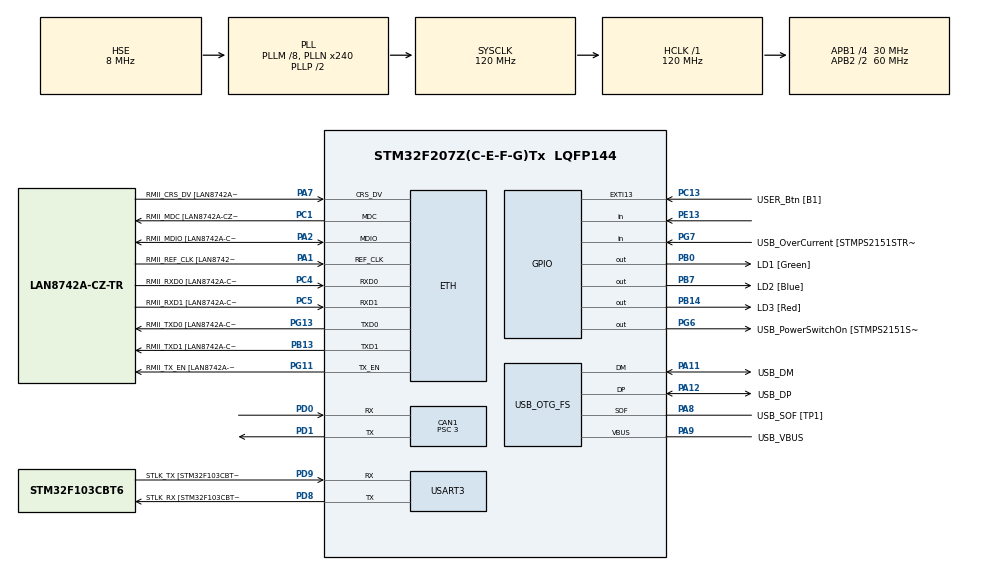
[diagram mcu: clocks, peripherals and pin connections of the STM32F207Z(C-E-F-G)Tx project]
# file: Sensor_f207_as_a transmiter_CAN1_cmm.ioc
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CAN1.ABOM=ENABLE
CAN1.BS1=CAN_BS1_16TQ
CAN1.BS2=CAN_BS2_3TQ
CAN1.CalculateBaudRate=500000
CAN1.CalculateTimeBit=2000
CAN1.CalculateTimeQuantum=100.0
CAN1.NART=ENABLE
CAN1.Prescaler=3
ETH.MediaInterface=ETH_MEDIA_INTERFACE_RMII
ETH.PHY_Name=LAN8742A_PHY_ADDRESS
ETH.PHY_Value=0
ETH.PhyAddress=0
Mcu.Family=STM32F2
Mcu.Name=STM32F207Z(C-E-F-G)Tx
Mcu.Package=LQFP144
NVIC.CAN1_TX_IRQn=true\:0\:0\:false\:false\:true\:true\:true\:true
NVIC.PriorityGroup=NVIC_PRIORITYGROUP_4
PA1.GPIO_Label=RMII_REF_CLK [LAN8742A-CZ-TR_REFCLK0]
PA1.Mode=RMII
PA1.Signal=ETH_REF_CLK
PA10.GPIO_Label=USB_ID
PA10.Signal=USB_OTG_FS_ID
PA11.GPIO_Label=USB_DM
PA11.Mode=Device_Only
PA11.Signal=USB_OTG_FS_DM
PA12.GPIO_Label=USB_DP
PA12.Mode=Device_Only
PA12.Signal=USB_OTG_FS_DP
PA13.GPIO_Label=TMS
PA13.Mode=Serial_Wire
PA13.Signal=SYS_JTMS-SWDIO
PA14.GPIO_Label=TCK
PA14.Mode=Serial_Wire
PA14.Signal=SYS_JTCK-SWCLK
PA2.GPIO_Label=RMII_MDIO [LAN8742A-CZ-TR_MDIO]
PA2.Mode=RMII
PA2.Signal=ETH_MDIO
PA7.GPIO_Label=RMII_CRS_DV [LAN8742A-CZ-TR_CRS_DV]
PA7.Mode=RMII
PA7.Signal=ETH_CRS_DV
PA8.GPIO_Label=USB_SOF [TP1]
PA8.Mode=Activate_SOF_FS
PA8.Signal=USB_OTG_FS_SOF
PA9.GPIO_Label=USB_VBUS
PA9.Mode=Activate_VBUS
PA9.Signal=USB_OTG_FS_VBUS
PB0.GPIO_Label=LD1 [Green]
PB0.Signal=GPIO_Output
PB13.GPIO_Label=RMII_TXD1 [LAN8742A-CZ-TR_TXD1]
PB13.Mode=RMII
PB13.Signal=ETH_TXD1
PB14.GPIO_Label=LD3 [Red]
PB14.Signal=GPIO_Output
PB3.GPIO_Label=SWO
PB3.Signal=SYS_JTDO-SWO
PB7.GPIO_Label=LD2 [Blue]
PB7.Signal=GPIO_Output
PC1.GPIO_Label=RMII_MDC [LAN8742A-CZ-TR_MDC]
PC1.Mode=RMII
PC1.Signal=ETH_MDC
PC13.GPIO_Label=USER_Btn [B1]
PC13.Signal=GPXTI13
PC14-OSC32_IN.Mode=LSE-External-Oscillator
PC14-OSC32_IN.Signal=RCC_OSC32_IN
PC15-OSC32_OUT.Mode=LSE-External-Oscillator
PC15-OSC32_OUT.Signal=RCC_OSC32_OUT
PC4.GPIO_Label=RMII_RXD0 [LAN8742A-CZ-TR_RXD0]
PC4.Mode=RMII
PC4.Signal=ETH_RXD0
PC5.GPIO_Label=RMII_RXD1 [LAN8742A-CZ-TR_RXD1]
PC5.Mode=RMII
PC5.Signal=ETH_RXD1
PD0.Mode=CAN_Activate
PD0.Signal=CAN1_RX
PD1.Mode=CAN_Activate
PD1.Signal=CAN1_TX
PD8.GPIO_Label=STLK_RX [STM32F103CBT6_PA2]
PD8.Mode=Asynchronous
PD8.Signal=USART3_TX
PD9.GPIO_Label=STLK_TX [STM32F103CBT6_PA3]
PD9.Mode=Asynchronous
PD9.Signal=USART3_RX
PE13.GPIO_PuPd=GPIO_PULLUP
PE13.Signal=GPIO_Input
PG11.GPIO_Label=RMII_TX_EN [LAN8742A-CZ-TR_TXEN]
PG11.Mode=RMII
PG11.Signal=ETH_TX_EN
PG13.GPIO_Label=RMII_TXD0 [LAN8742A-CZ-TR_TXD0]
PG13.Mode=RMII
PG13.Signal=ETH_TXD0
PG6.GPIO_Label=USB_PowerSwitchOn [STMPS2151STR_EN]
PG6.Signal=GPIO_Output
PG7.GPIO_Label=USB_OverCurrent [STMPS2151STR_FAULT]
PG7.Signal=GPIO_Input
PH0-OSC_IN.GPIO_Label=MCO [STM32F103CBT6_PA8]
PH0-OSC_IN.Mode=HSE-External-Clock-Source
PH0-OSC_IN.Signal=RCC_OSC_IN
PH1-OSC_OUT.Mode=HSE-External-Clock-Source
PH1-OSC_OUT.Signal=RCC_OSC_OUT
ProjectManager.HeapSize=0x200
ProjectManager.StackSize=0x400
ProjectManager.TargetToolchain=STM32CubeIDE
RCC.48MHZClocksFreq_Value=48000000
RCC.AHBFreq_Value=120000000
RCC.APB1CLKDivider=RCC_HCLK_DIV4
RCC.APB1Freq_Value=30000000
RCC.APB1TimFreq_Value=60000000
RCC.APB2CLKDivider=RCC_HCLK_DIV2
RCC.APB2Freq_Value=60000000
RCC.APB2TimFreq_Value=120000000
RCC.CortexFreq_Value=120000000
RCC.HCLKFreq_Value=120000000
RCC.HSE_VALUE=8000000
RCC.HSI_VALUE=16000000
RCC.PLLM=8
RCC.PLLMUL=RCC_PLL_MUL9
RCC.PLLN=240
RCC.PLLQ=5
RCC.PLLSourceVirtual=RCC_PLLSOURCE_HSE
RCC.PRESCALERUSB=RCC_USBCLKSOURCE_PLL_DIV1_5
RCC.SYSCLKFreq_VALUE=120000000
RCC.SYSCLKSource=RCC_SYSCLKSOURCE_PLLCLK
RCC.SYSCLKSourceVirtual=RCC_SYSCLKSOURCE_PLLCLK
RCC.USBFreq_Value=48000000
RCC.VCOOutputFreq_Value=240000000
USART3.VirtualMode=VM_ASYNC
USB_OTG_FS.VirtualMode=Device_Only
board=NUCLEO-F207ZG

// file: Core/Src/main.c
/* USER CODE BEGIN Header */
/**
  ******************************************************************************
  * @file           : main.c
  * @brief          : Main program body
  ******************************************************************************
  * @attention
  *
  * Copyright (c) 2026 STMicroelectronics.
  * All rights reserved.
  *
  * This software is licensed under terms that can be found in the LICENSE file
  * in the root directory of this software component.
  * If no LICENSE file comes with this software, it is provided AS-IS.
  *
  ******************************************************************************
  */
/* USER CODE END Header */
#include "main.h"

/* USER CODE BEGIN Includes */
#include <stdio.h>
#include <string.h>
/* USER CODE END Includes */

/* USER CODE BEGIN PD */
#define Sensor_data_Pin GPIO_PIN_13
#define Sensor_data_GPIO_Port GPIOE

/* USER CODE END PD */

CAN_HandleTypeDef hcan1;

ETH_HandleTypeDef heth;

UART_HandleTypeDef huart3;

PCD_HandleTypeDef hpcd_USB_OTG_FS;

void SystemClock_Config(void);
static void MX_GPIO_Init(void);
static void MX_ETH_Init(void);
static void MX_USART3_UART_Init(void);
static void MX_USB_OTG_FS_PCD_Init(void);
static void MX_CAN1_Init(void);

/* USER CODE BEGIN 0 */

uint8_t dht_data[5];
float temperature = 0;
float humidity = 0;
int16_t temp=0;
int16_t hum=0;
uint8_t TxData[4];

/* ---- Microsecond Delay Using DWT ---- */
void DWT_Delay_Init(void)
{
    CoreDebug->DEMCR |= CoreDebug_DEMCR_TRCENA_Msk;
    DWT->CYCCNT = 0;
    DWT->CTRL |= DWT_CTRL_CYCCNTENA_Msk;
}

void delay_us(uint32_t us)
{
    uint32_t cycles = (SystemCoreClock / 1000000L) * us;
    uint32_t start = DWT->CYCCNT;
    while (DWT->CYCCNT - start < cycles);
}

/* ---- Change PE13 Mode ---- */
void Set_Pin_Output(void)
{
    GPIO_InitTypeDef GPIO_InitStruct = {0};
    GPIO_InitStruct.Pin = Sensor_data_Pin;
    GPIO_InitStruct.Mode = GPIO_MODE_OUTPUT_OD;   // Open Drain
    GPIO_InitStruct.Pull = GPIO_NOPULL;           // IMPORTANT
    GPIO_InitStruct.Speed = GPIO_SPEED_FREQ_LOW;
    HAL_GPIO_Init(Sensor_data_GPIO_Port, &GPIO_InitStruct);
}

void Set_Pin_Input(void)
{
    GPIO_InitTypeDef GPIO_InitStruct = {0};
    GPIO_InitStruct.Pin = Sensor_data_Pin;
    GPIO_InitStruct.Mode = GPIO_MODE_INPUT;
    GPIO_InitStruct.Pull = GPIO_PULLUP;
    HAL_GPIO_Init(Sensor_data_GPIO_Port, &GPIO_InitStruct);
}

/* ---- DHT22 Start ---- */
uint8_t DHT22_Start(void)
{
    uint8_t response = 0;

    Set_Pin_Output();
    HAL_GPIO_WritePin(GPIOE, Sensor_data_Pin, GPIO_PIN_RESET);
    HAL_Delay(1);

    HAL_GPIO_WritePin(GPIOE, Sensor_data_Pin, GPIO_PIN_SET);
    delay_us(30);

    Set_Pin_Input();
    delay_us(40);

    if (!HAL_GPIO_ReadPin(GPIOE, Sensor_data_Pin))
    {
        delay_us(80);
        if (HAL_GPIO_ReadPin(GPIOE, Sensor_data_Pin))
            response = 1;
    }

    return response;
}

/* ---- Read Byte ---- */
uint8_t DHT22_Read(void)
{
    uint8_t i, result = 0;
    uint32_t timeout;

    for (i = 0; i < 8; i++)
    {
        timeout = 10000;
        while (!HAL_GPIO_ReadPin(Sensor_data_GPIO_Port, Sensor_data_Pin))
        {
            if (--timeout == 0) return 0;
        }

        delay_us(40);

        if (HAL_GPIO_ReadPin(Sensor_data_GPIO_Port, Sensor_data_Pin))
            result |= (1 << (7 - i));

        timeout = 10000;
        while (HAL_GPIO_ReadPin(Sensor_data_GPIO_Port, Sensor_data_Pin))
        {
            if (--timeout == 0) return 0;
        }
    }

    return result;
}

/* USER CODE END 0 */

int main(void)
{

  /* MCU Configuration--------------------------------------------------------*/

  /* Reset of all peripherals, Initializes the Flash interface and the Systick. */
  HAL_Init();

  /* Configure the system clock */
  SystemClock_Config();

  /* Initialize all configured peripherals */
  MX_GPIO_Init();
//  MX_ETH_Init();
  MX_USART3_UART_Init();
  MX_USB_OTG_FS_PCD_Init();
  MX_CAN1_Init();
  /* USER CODE BEGIN 2 */

  DWT_Delay_Init();          // enable microsecond delay

  HAL_UART_Transmit(&huart3,
                    (uint8_t*)"UART Working\r\n",
                    15,
                    100);

  /* Configure CAN Filter */
  CAN_FilterTypeDef filter;

  filter.FilterBank = 0;
  filter.FilterMode = CAN_FILTERMODE_IDMASK;
  filter.FilterScale = CAN_FILTERSCALE_32BIT;
  filter.FilterIdHigh = 0x0000;
  filter.FilterIdLow = 0x0000;
  filter.FilterMaskIdHigh = 0x0000;
  filter.FilterMaskIdLow = 0x0000;
  filter.FilterFIFOAssignment = CAN_FILTER_FIFO0;
  filter.FilterActivation = ENABLE;

  HAL_CAN_ConfigFilter(&hcan1, &filter);

  HAL_CAN_Start(&hcan1);     // start CAN

  HAL_CAN_ActivateNotification(&hcan1,
      CAN_IT_TX_MAILBOX_EMPTY);

  /* USER CODE END 2 */

  /* Infinite loop */
  while (1)
  {

    /* USER CODE BEGIN 3 */
	  if (DHT22_Start())
	      {
	          for (int i = 0; i < 5; i++)
	              dht_data[i] = DHT22_Read();

	          /* CHECKSUM VALIDATION */
	             if (dht_data[4] == (dht_data[0] + dht_data[1] + dht_data[2] + dht_data[3]))
	             {
	                 humidity = ((dht_data[0] << 8) | dht_data[1]) * 0.1;
	                 temperature = ((dht_data[2] << 8) | dht_data[3]) * 0.1;
	             }
	             else
	             {
	                 HAL_UART_Transmit(&huart3,
	                     (uint8_t*)"Checksum Error\r\n", 16, 100);
	             }

	          /* ---- ADD THIS UART PRINT BLOCK HERE ---- */

	          char uartBuffer[60];

	          sprintf(uartBuffer, "Temp = %.1f C  |  Hum = %.1f %%\r\n",
	                  temperature, humidity);

	          HAL_UART_Transmit(&huart3,
	                            (uint8_t*)uartBuffer,
	                            strlen(uartBuffer),
	                            100);

	          /* ---- Send via CAN ---- */
	          /* -------- Send Temperature -------- */

	              CAN_TxHeaderTypeDef TxHeader;
	              uint32_t TxMailbox;
	              //uint8_t TxData[4];

	              TxHeader.StdId = 0x123;
	              TxHeader.IDE = CAN_ID_STD;
	              TxHeader.RTR = CAN_RTR_DATA;
	              TxHeader.DLC = 4;
	              TxHeader.TransmitGlobalTime = DISABLE;

	              temp = temperature * 10;
	              hum  = humidity * 10;

	              TxData[0] = temp >> 8;
	              TxData[1] = temp;
	              TxData[2] = hum >> 8;
	              TxData[3] = hum;

	              if (HAL_CAN_GetTxMailboxesFreeLevel(&hcan1) > 0)
	              {
	                  HAL_CAN_AddTxMessage(&hcan1, &TxHeader, TxData, &TxMailbox);
	              }

	      HAL_Delay(5000);   // DHT22 requires 2 sec delay
	      }
  }
  /* USER CODE END 3 */
}

void SystemClock_Config(void)
{
  RCC_OscInitTypeDef RCC_OscInitStruct = {0};
  RCC_ClkInitTypeDef RCC_ClkInitStruct = {0};

  /** Initializes the RCC Oscillators according to the specified parameters
  * in the RCC_OscInitTypeDef structure.
  */
  RCC_OscInitStruct.OscillatorType = RCC_OSCILLATORTYPE_HSE;
  RCC_OscInitStruct.HSEState = RCC_HSE_BYPASS;
  RCC_OscInitStruct.PLL.PLLState = RCC_PLL_ON;
  RCC_OscInitStruct.PLL.PLLSource = RCC_PLLSOURCE_HSE;
  RCC_OscInitStruct.PLL.PLLM = 8;
  RCC_OscInitStruct.PLL.PLLN = 240;
  RCC_OscInitStruct.PLL.PLLP = RCC_PLLP_DIV2;
  RCC_OscInitStruct.PLL.PLLQ = 5;
  if (HAL_RCC_OscConfig(&RCC_OscInitStruct) != HAL_OK)
  {
    Error_Handler();
  }

  /** Initializes the CPU, AHB and APB buses clocks
  */
  RCC_ClkInitStruct.ClockType = RCC_CLOCKTYPE_HCLK|RCC_CLOCKTYPE_SYSCLK
                              |RCC_CLOCKTYPE_PCLK1|RCC_CLOCKTYPE_PCLK2;
  RCC_ClkInitStruct.SYSCLKSource = RCC_SYSCLKSOURCE_PLLCLK;
  RCC_ClkInitStruct.AHBCLKDivider = RCC_SYSCLK_DIV1;
  RCC_ClkInitStruct.APB1CLKDivider = RCC_HCLK_DIV4;
  RCC_ClkInitStruct.APB2CLKDivider = RCC_HCLK_DIV2;

  if (HAL_RCC_ClockConfig(&RCC_ClkInitStruct, FLASH_LATENCY_3) != HAL_OK)
  {
    Error_Handler();
  }
}

static void MX_CAN1_Init(void)
{

  hcan1.Instance = CAN1;
  hcan1.Init.Prescaler = 3;
  hcan1.Init.Mode = CAN_MODE_NORMAL;
  hcan1.Init.SyncJumpWidth = CAN_SJW_1TQ;
  hcan1.Init.TimeSeg1 = CAN_BS1_16TQ;
  hcan1.Init.TimeSeg2 = CAN_BS2_3TQ;
  hcan1.Init.TimeTriggeredMode = DISABLE;
  hcan1.Init.AutoBusOff = ENABLE;
  hcan1.Init.AutoWakeUp = DISABLE;
  hcan1.Init.AutoRetransmission = ENABLE;
  hcan1.Init.ReceiveFifoLocked = DISABLE;
  hcan1.Init.TransmitFifoPriority = DISABLE;
  if (HAL_CAN_Init(&hcan1) != HAL_OK)
  {
    Error_Handler();
  }

}

static void MX_ETH_Init(void)
{

   static uint8_t MACAddr[6];

  heth.Instance = ETH;
  heth.Init.AutoNegotiation = ETH_AUTONEGOTIATION_ENABLE;
  heth.Init.Speed = ETH_SPEED_100M;
  heth.Init.DuplexMode = ETH_MODE_FULLDUPLEX;
  heth.Init.PhyAddress = LAN8742A_PHY_ADDRESS;
  MACAddr[0] = 0x00;
  MACAddr[1] = 0x80;
  MACAddr[2] = 0xE1;
  MACAddr[3] = 0x00;
  MACAddr[4] = 0x00;
  MACAddr[5] = 0x00;
  heth.Init.MACAddr = &MACAddr[0];
  heth.Init.RxMode = ETH_RXPOLLING_MODE;
  heth.Init.ChecksumMode = ETH_CHECKSUM_BY_HARDWARE;
  heth.Init.MediaInterface = ETH_MEDIA_INTERFACE_RMII;

  if (HAL_ETH_Init(&heth) != HAL_OK)
  {
    Error_Handler();
  }

}

static void MX_USART3_UART_Init(void)
{

  huart3.Instance = USART3;
  huart3.Init.BaudRate = 115200;
  huart3.Init.WordLength = UART_WORDLENGTH_8B;
  huart3.Init.StopBits = UART_STOPBITS_1;
  huart3.Init.Parity = UART_PARITY_NONE;
  huart3.Init.Mode = UART_MODE_TX_RX;
  huart3.Init.HwFlowCtl = UART_HWCONTROL_NONE;
  huart3.Init.OverSampling = UART_OVERSAMPLING_16;
  if (HAL_UART_Init(&huart3) != HAL_OK)
  {
    Error_Handler();
  }

}

static void MX_USB_OTG_FS_PCD_Init(void)
{

  hpcd_USB_OTG_FS.Instance = USB_OTG_FS;
  hpcd_USB_OTG_FS.Init.dev_endpoints = 4;
  hpcd_USB_OTG_FS.Init.speed = PCD_SPEED_FULL;
  hpcd_USB_OTG_FS.Init.dma_enable = DISABLE;
  hpcd_USB_OTG_FS.Init.phy_itface = PCD_PHY_EMBEDDED;
  hpcd_USB_OTG_FS.Init.Sof_enable = ENABLE;
  hpcd_USB_OTG_FS.Init.low_power_enable = DISABLE;
  hpcd_USB_OTG_FS.Init.vbus_sensing_enable = ENABLE;
  hpcd_USB_OTG_FS.Init.use_dedicated_ep1 = DISABLE;
  if (HAL_PCD_Init(&hpcd_USB_OTG_FS) != HAL_OK)
  {
    Error_Handler();
  }

}

static void MX_GPIO_Init(void)
{
  GPIO_InitTypeDef GPIO_InitStruct = {0};

  /* GPIO Ports Clock Enable */
  __HAL_RCC_GPIOC_CLK_ENABLE();
  __HAL_RCC_GPIOH_CLK_ENABLE();
  __HAL_RCC_GPIOA_CLK_ENABLE();
  __HAL_RCC_GPIOB_CLK_ENABLE();
  __HAL_RCC_GPIOE_CLK_ENABLE();
  __HAL_RCC_GPIOD_CLK_ENABLE();
  __HAL_RCC_GPIOG_CLK_ENABLE();

  /*Configure GPIO pin Output Level */
  HAL_GPIO_WritePin(GPIOB, LD1_Pin|LD3_Pin|LD2_Pin, GPIO_PIN_RESET);

  /*Configure GPIO pin Output Level */
  HAL_GPIO_WritePin(USB_PowerSwitchOn_GPIO_Port, USB_PowerSwitchOn_Pin, GPIO_PIN_RESET);

  /*Configure GPIO pin : USER_Btn_Pin */
  GPIO_InitStruct.Pin = USER_Btn_Pin;
  GPIO_InitStruct.Mode = GPIO_MODE_IT_RISING;
  GPIO_InitStruct.Pull = GPIO_NOPULL;
  HAL_GPIO_Init(USER_Btn_GPIO_Port, &GPIO_InitStruct);

  /*Configure GPIO pins : LD1_Pin LD3_Pin LD2_Pin */
  GPIO_InitStruct.Pin = LD1_Pin|LD3_Pin|LD2_Pin;
  GPIO_InitStruct.Mode = GPIO_MODE_OUTPUT_PP;
  GPIO_InitStruct.Pull = GPIO_NOPULL;
  GPIO_InitStruct.Speed = GPIO_SPEED_FREQ_LOW;
  HAL_GPIO_Init(GPIOB, &GPIO_InitStruct);

  /*Configure GPIO pin : PE13 */
  GPIO_InitStruct.Pin = GPIO_PIN_13;
  GPIO_InitStruct.Mode = GPIO_MODE_INPUT;
  GPIO_InitStruct.Pull = GPIO_PULLUP;
  HAL_GPIO_Init(GPIOE, &GPIO_InitStruct);

  /*Configure GPIO pin : USB_PowerSwitchOn_Pin */
  GPIO_InitStruct.Pin = USB_PowerSwitchOn_Pin;
  GPIO_InitStruct.Mode = GPIO_MODE_OUTPUT_PP;
  GPIO_InitStruct.Pull = GPIO_NOPULL;
  GPIO_InitStruct.Speed = GPIO_SPEED_FREQ_LOW;
  HAL_GPIO_Init(USB_PowerSwitchOn_GPIO_Port, &GPIO_InitStruct);

  /*Configure GPIO pin : USB_OverCurrent_Pin */
  GPIO_InitStruct.Pin = USB_OverCurrent_Pin;
  GPIO_InitStruct.Mode = GPIO_MODE_INPUT;
  GPIO_InitStruct.Pull = GPIO_NOPULL;
  HAL_GPIO_Init(USB_OverCurrent_GPIO_Port, &GPIO_InitStruct);

}

/* USER CODE BEGIN 4 */

void HAL_CAN_TxMailbox0CompleteCallback(CAN_HandleTypeDef *hcan)
{
    HAL_GPIO_TogglePin(GPIOB, LD2_Pin);   // Toggle LED when sent
}
/* USER CODE END 4 */

void Error_Handler(void)
{
  __disable_irq();
  while (1)
  {
  }
}
